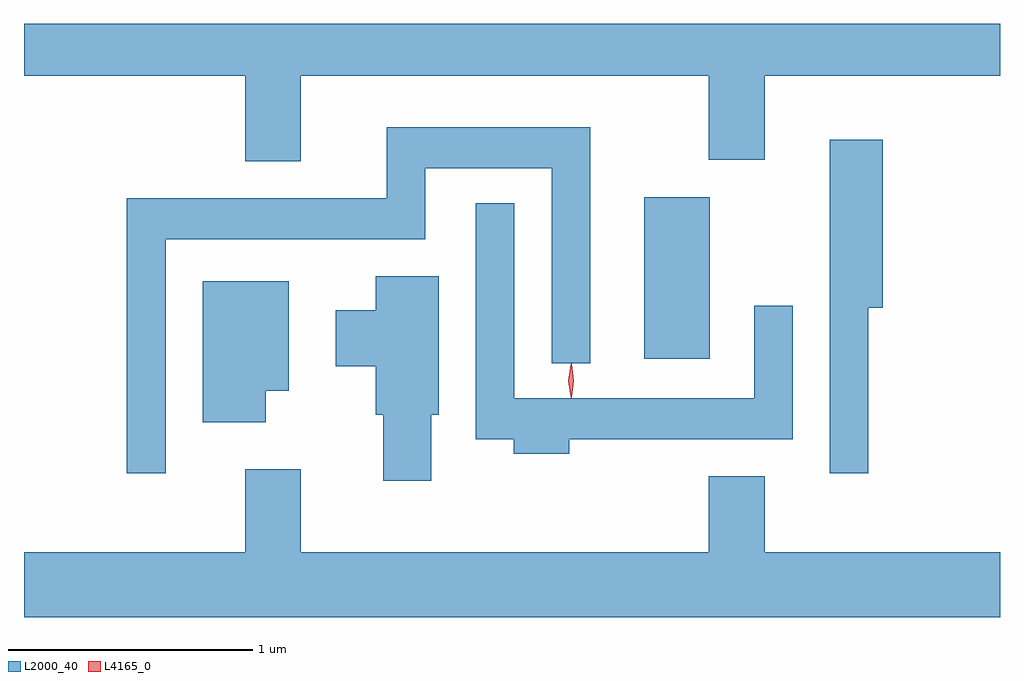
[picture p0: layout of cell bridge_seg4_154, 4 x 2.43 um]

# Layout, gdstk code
import gdstk
lib = gdstk.Library(unit=1e-6, precision=1e-09)
def R(c, l, rs):  # rectangles x0, y0, x1, y1
    for r in rs: c.add(gdstk.rectangle(r[:2], r[2:], *l))
def P(c, l, *ps):  # polygons
    for p in ps: c.add(gdstk.Polygon(p, *l))
L2000_40 = (2000, 40)
L4165_0 = (4165, 0)

bridge_seg4_154 = lib.new_cell('bridge_seg4_154')
R(bridge_seg4_154, L2000_40, [(869.786,1278.036,870.054,1278.699)])
P(bridge_seg4_154, L2000_40, [(868.379,1279.196),(870.051,1279.196),(870.051,1278.851),(870.279,1278.851),(870.279,1279.196),(871.244,1279.196),(871.244,1279.41),(867.244,1279.41),(867.244,1279.196),(868.151,1279.196),(868.151,1278.846),(868.379,1278.846)],
  [(867.824,1278.526),(868.889,1278.526),(868.889,1278.816),(869.406,1278.816),(869.406,1278.018),(869.564,1278.018),(869.564,1278.984),(868.731,1278.984),(868.731,1278.694),(867.666,1278.694),(867.666,1277.568),(867.824,1277.568)],
  [(870.704,1278.246),(870.764,1278.246),(870.764,1278.934),(870.546,1278.934),(870.546,1277.568),(870.704,1277.568)],
  [(869.479,1277.706),(870.394,1277.706),(870.394,1278.253),(870.236,1278.253),(870.236,1277.874),(869.254,1277.874),(869.254,1278.673),(869.096,1278.673),(869.096,1277.706),(869.251,1277.706),(869.251,1277.646),(869.479,1277.646)],
  [(868.914,1277.806),(868.944,1277.806),(868.944,1278.374),(868.686,1278.374),(868.686,1278.234),(868.521,1278.234),(868.521,1278.006),(868.686,1278.006),(868.686,1277.806),(868.716,1277.806),(868.716,1277.536),(868.914,1277.536)],
  [(868.234,1277.906),(868.329,1277.906),(868.329,1278.354),(867.976,1278.354),(867.976,1277.776),(868.234,1277.776)],
  [(871.244,1277.244),(870.279,1277.244),(870.279,1277.554),(870.051,1277.554),(870.051,1277.244),(868.379,1277.244),(868.379,1277.584),(868.151,1277.584),(868.151,1277.244),(867.244,1277.244),(867.244,1276.976),(871.244,1276.976)])
P(bridge_seg4_154, L4165_0, [(869.485,1277.879),(869.485,1277.88),(869.475,1277.946),(869.485,1278.012),(869.485,1278.013),(869.486,1278.012),(869.495,1277.946),(869.486,1277.88)],
  [(869.487,1277.877),(869.486,1277.878),(869.477,1277.947),(869.486,1278.016),(869.487,1278.016),(869.488,1278.016),(869.497,1277.947),(869.488,1277.878)])

lib.write_gds('bridge_seg4_154.gds')
